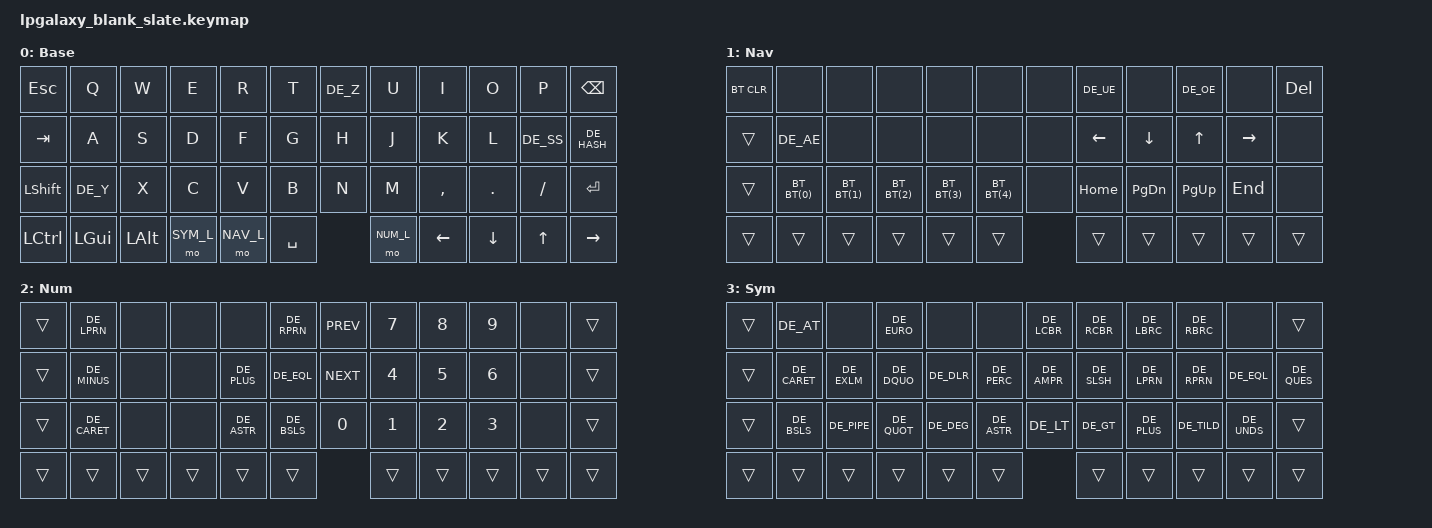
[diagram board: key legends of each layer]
/*
 * Copyright (c) 2022 Pete Johanson
 *
 * SPDX-License-Identifier: MIT
 */

#include <behaviors.dtsi>
#include <dt-bindings/zmk/keys.h>
#include <dt-bindings/zmk/bt.h>
#include <dt-bindings/zmk/outputs.h>

#include "../ger_symbols.h"

#define QWERTY_BASE 1
#define TBLE_MIT 1

#define NAV_L 1
#define NUM_L 2
#define SYM_L 3

// Using layer taps on thumbs, having quick tap as well helps w/ repeating space/backspace
&lt { quick_tap_ms = <200>; };

#define BT(n) BT_SEL n

/ {
    chosen {
        zmk,physical-layout = &layout_ortho_4x12_1x2u;
    };

    macros {
        ZMK_MACRO(thumbs_up,
            wait-ms = <1>;
            tap-ms = <5>;
            bindings = <&kp PLUS &kp COLON &kp PLUS &kp N1 &kp COLON &kp RET>;
        )
    };
    
    tap_dances {
        shifty: shift_caps_word {
            compatible = "zmk,behavior-tap-dance";
            label = "TD_SHIFTY";
            #binding-cells = <0>;
            tapping-term-ms = <150>;
            bindings = <&kp LSHFT>, <&caps_word>;
        };
    };

    keymap {
        compatible = "zmk,keymap";

        base_layer {
            label = "Base";
            bindings = <
                &kp ESC    &kp Q      &kp W      &kp E       &kp R       &kp T      &kp DE_Z   &kp U       &kp I      &kp O      &kp P      &kp BKSP
                &kp TAB    &kp A      &kp S      &kp D       &kp F       &kp G      &kp H      &kp J       &kp K      &kp L      &kp DE_SS  &kp DE_HASH
                &kp LSHFT  &kp DE_Y   &kp X      &kp C       &kp V       &kp B      &kp N      &kp M       &kp COMMA  &kp DOT    &kp FSLH   &kp RET
                &kp LCTRL  &kp LGUI   &kp LALT   &mo SYM_L   &mo NAV_L       &kp SPACE         &mo NUM_L  &kp LEFT    &kp DOWN   &kp UP     &kp RIGHT
            >;
        };

        nav_layer {
            label = "Nav";
            bindings = <
                &bt BT_CLR &none      &none      &none       &none      &none      &none       &kp DE_UE  &none       &kp DE_OE  &none      &kp DEL
                &trans     &kp DE_AE  &none      &none       &none      &none      &none       &kp LEFT   &kp DOWN    &kp UP     &kp RIGHT  &none
                &trans     &bt BT(0)  &bt BT(1)  &bt BT(2)   &bt BT(3)  &bt BT(4)  &none       &kp HOME   &kp PG_DN   &kp PG_UP  &kp END    &none
                &trans     &trans     &trans     &trans      &trans           &trans           &trans     &trans      &trans     &trans     &trans
            >;
        };

        num_layer {
            label = "Num";
            bindings = <
                &trans     &kp DE_LPRN  &none    &none       &none        &kp DE_RPRN  &kp C_PREV  &kp N7     &kp N8     &kp N9  &none    &trans
                &trans     &kp DE_MINUS &none    &none       &kp DE_PLUS  &kp DE_EQL   &kp C_NEXT  &kp N4     &kp N5     &kp N6  &none    &trans
                &trans     &kp DE_CARET &none    &none       &kp DE_ASTR  &kp DE_BSLS  &kp N0      &kp N1     &kp N2     &kp N3  &none    &trans
                &trans     &trans       &trans   &trans      &trans                &trans          &trans     &trans     &trans  &trans   &trans
            >;
        };

        sym_layer {
            label = "Sym";
            bindings = <
                &trans   &kp DE_AT     &none        &kp DE_EURO  &none       &none        &kp DE_LCBR  &kp DE_RCBR  &kp DE_LBRC  &kp DE_RBRC  &none        &trans
                &trans   &kp DE_CARET  &kp DE_EXLM  &kp DE_DQUO  &kp DE_DLR  &kp DE_PERC  &kp DE_AMPR  &kp DE_SLSH  &kp DE_LPRN  &kp DE_RPRN  &kp DE_EQL   &kp DE_QUES
                &trans   &kp DE_BSLS   &kp DE_PIPE  &kp DE_QUOT  &kp DE_DEG  &kp DE_ASTR  &kp DE_LT    &kp DE_GT    &kp DE_PLUS  &kp DE_TILD  &kp DE_UNDS  &trans
                &trans   &trans        &trans       &trans       &trans              &trans            &trans       &trans       &trans       &trans       &trans
            >;
        };
    };
};
